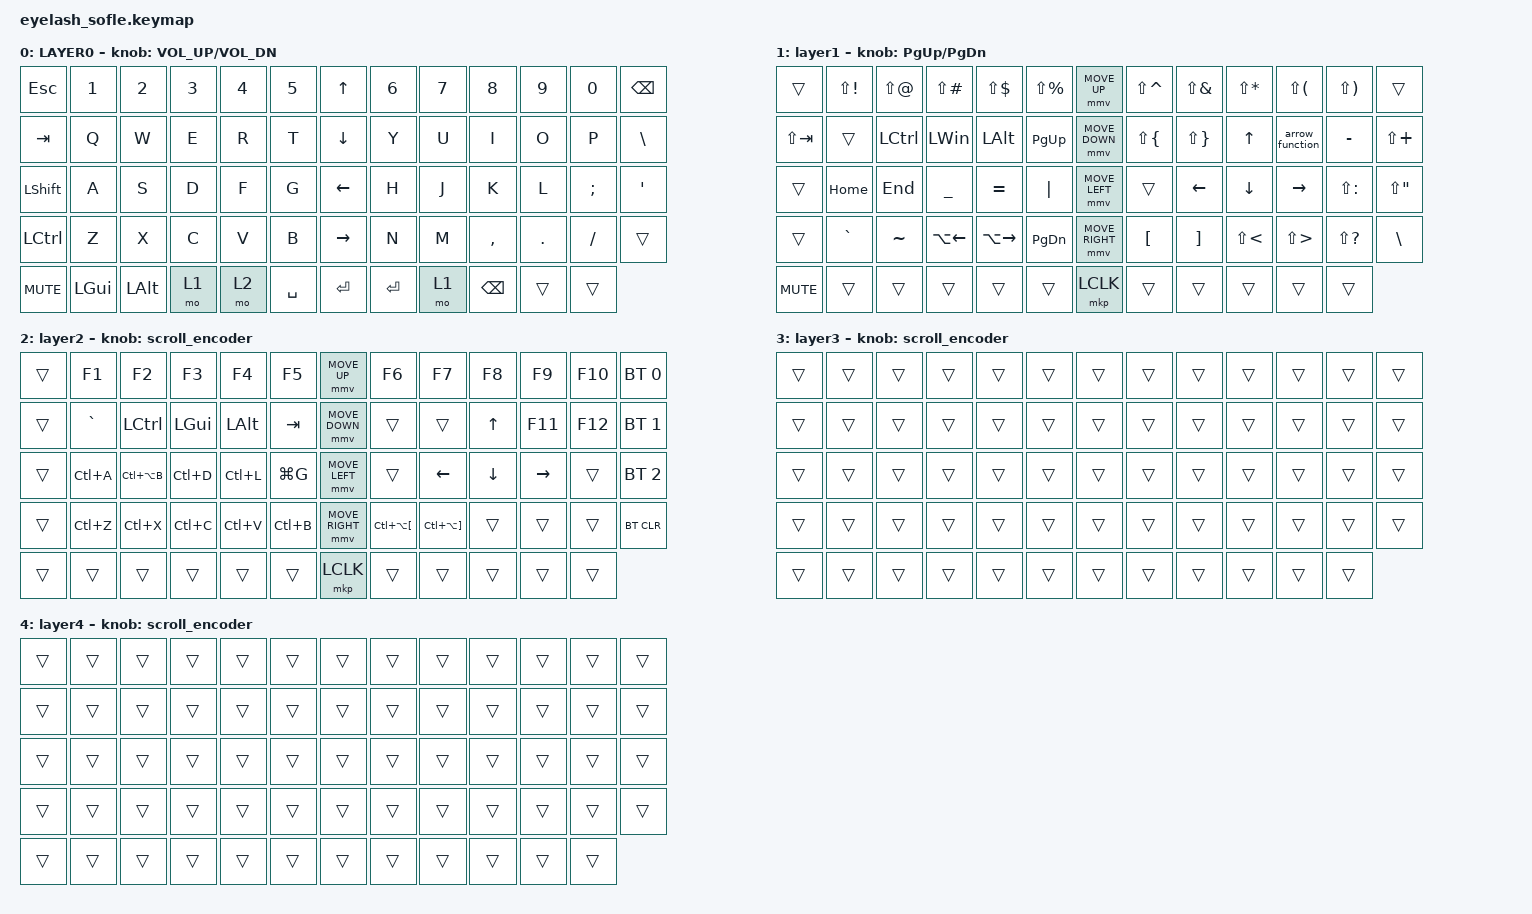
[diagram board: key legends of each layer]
#define ZMK_POINTING_DEFAULT_MOVE_VAL 1200  // 600
#define ZMK_POINTING_DEFAULT_SCRL_VAL 25   // 10

#include <input/processors.dtsi>
#include <zephyr/dt-bindings/input/input-event-codes.h>
#include <behaviors.dtsi>
#include <dt-bindings/zmk/bt.h>
#include <dt-bindings/zmk/keys.h>
#include <dt-bindings/zmk/pointing.h>

&mmv_input_listener { input-processors = <&zip_xy_scaler 2 1>; };

&msc_input_listener { input-processors = <&zip_scroll_scaler 2 1>; };

&msc {
    acceleration-exponent = <1>;      // 0
    time-to-max-speed-ms = <100>;       // 300
    delay-ms = <0>;                   // 0
};

&mmv {
    time-to-max-speed-ms = <500>;
    acceleration-exponent = <1>;
    trigger-period-ms = <16>;
};

&soft_off { hold-time-ms = <2000>; };

/ {
    scroll_encoder: scroll_encoder {
        compatible = "zmk,behavior-sensor-rotate";
        #sensor-binding-cells = <0>;
        bindings = <&msc SCRL_DOWN>, <&msc SCRL_UP>;

        tap-ms = <100>;
    };

    behaviors {
    };

    combos {
        compatible = "zmk,combos";

        softoff {
            bindings = <&soft_off>;
            key-positions = <14 28 40>;
        };
    };

    macros {
        SHIFT_MCLK: SHIFT_MCLK {
            compatible = "zmk,behavior-macro";
            #binding-cells = <0>;
            bindings =
                <&macro_press>,
                <&kp LEFT_SHIFT>,
                <&macro_press>,
                <&mkp MB3>,
                <&macro_pause_for_release>,
                <&macro_release>,
                <&kp LEFT_SHIFT &mkp MB3>;

            label = "SHIFT_MCLK";
        };

        arrow_function: arrow_function {
            compatible = "zmk,behavior-macro";
            #binding-cells = <0>;
            bindings = <&kp EQUAL &kp GREATER_THAN>;
            label = "ARROW_FUNCTION";
        };

        fold_sub_region: fold_sub_region {
            compatible = "zmk,behavior-macro";
            #binding-cells = <0>;
            bindings = <&kp LC(K) &kp LC(O)>;
            label = "FOLD_SUB_REGION";
        };
    };

    keymap {
        compatible = "zmk,keymap";

        layer0 {
            bindings = <
&kp ESC           &kp N1    &kp N2        &kp N3  &kp N4  &kp N5       &kp UP_ARROW     &kp N6     &kp N7  &kp N8     &kp N9   &kp N0    &kp BACKSPACE
&kp TAB           &kp Q     &kp W         &kp E   &kp R   &kp T        &kp DOWN_ARROW   &kp Y      &kp U   &kp I      &kp O    &kp P     &kp BSLH
&kp LSHFT         &kp A     &kp S         &kp D   &kp F   &kp G        &kp LEFT_ARROW   &kp H      &kp J   &kp K      &kp L    &kp SEMI  &kp APOS
&kp LEFT_CONTROL  &kp Z     &kp X         &kp C   &kp V   &kp B        &kp RIGHT_ARROW  &kp N      &kp M   &kp COMMA  &kp DOT  &kp FSLH  &trans
&kp C_MUTE        &kp LGUI  &kp LEFT_ALT  &mo 1   &mo 2   &kp SPACE    &kp ENTER        &kp ENTER  &mo 1   &kp BSPC   &trans   &trans
            >;

            sensor-bindings = <&inc_dec_kp C_VOLUME_UP C_VOL_DN>;
            display-name = "LAYER0";
        };

        layer_1 {
            bindings = <
&trans       &kp LS(EXCL)  &kp LS(AT)        &kp LS(POUND)  &kp LS(DLLR)   &kp LS(PRCNT)    &mmv MOVE_UP     &kp LS(CARET)  &kp LS(AMPS)  &kp LS(STAR)  &kp LS(LPAR)     &kp LS(RPAR)   &trans
&kp LS(TAB)  &trans        &kp LEFT_CONTROL  &kp LEFT_WIN   &kp LEFT_ALT   &kp PG_UP        &mmv MOVE_DOWN   &kp LS(LBRC)   &kp LS(RBRC)  &kp UP        &arrow_function  &kp MINUS      &kp LS(PLUS)
&trans       &kp HOME      &kp END           &kp UNDER      &kp EQUAL      &kp PIPE         &mmv MOVE_LEFT   &trans         &kp LEFT      &kp DOWN      &kp RIGHT        &kp LS(COLON)  &kp LS(DQT)
&trans       &kp GRAVE     &kp TILDE         &kp LA(LEFT)   &kp LA(RIGHT)  &kp PAGE_DOWN    &mmv MOVE_RIGHT  &kp LBKT       &kp RBKT      &kp LS(LT)    &kp LS(GT)       &kp LS(QMARK)  &kp BSLH
&kp C_MUTE   &trans        &trans            &trans         &trans         &trans           &mkp LCLK        &trans         &trans        &trans        &trans           &trans
            >;

            display-name = "layer1";
            sensor-bindings = <&inc_dec_kp PAGE_UP PAGE_DOWN>;
        };

        layer_2 {
            bindings = <
&trans  &kp F1     &kp F2         &kp F3     &kp F4     &kp F5       &mmv MOVE_UP     &kp F6                    &kp F7                     &kp F8    &kp F9     &kp F10  &bt BT_SEL 0
&trans  &kp GRAVE  &kp LCTRL      &kp LGUI   &kp LALT   &kp TAB      &mmv MOVE_DOWN   &trans                    &trans                     &kp UP    &kp F11    &kp F12  &bt BT_SEL 1
&trans  &kp LC(A)  &kp LC(LA(B))  &kp LC(D)  &kp LC(L)  &kp LG(G)    &mmv MOVE_LEFT   &trans                    &kp LEFT                   &kp DOWN  &kp RIGHT  &trans   &bt BT_SEL 2
&trans  &kp LC(Z)  &kp LC(X)      &kp LC(C)  &kp LC(V)  &kp LC(B)    &mmv MOVE_RIGHT  &kp LC(LA(LEFT_BRACKET))  &kp LC(LA(RIGHT_BRACKET))  &trans    &trans     &trans   &bt BT_CLR
&trans  &trans     &trans         &trans     &trans     &trans       &mkp LCLK        &trans                    &trans                     &trans    &trans     &trans
            >;

            display-name = "layer2";
            sensor-bindings = <&scroll_encoder>;
        };

        layer_3 {
            bindings = <
&trans  &trans  &trans  &trans  &trans  &trans    &trans  &trans  &trans  &trans  &trans  &trans  &trans
&trans  &trans  &trans  &trans  &trans  &trans    &trans  &trans  &trans  &trans  &trans  &trans  &trans
&trans  &trans  &trans  &trans  &trans  &trans    &trans  &trans  &trans  &trans  &trans  &trans  &trans
&trans  &trans  &trans  &trans  &trans  &trans    &trans  &trans  &trans  &trans  &trans  &trans  &trans
&trans  &trans  &trans  &trans  &trans  &trans    &trans  &trans  &trans  &trans  &trans  &trans
            >;

            display-name = "layer3";
            sensor-bindings = <&scroll_encoder>;
        };

        layer_4 {
            bindings = <
&trans  &trans  &trans  &trans  &trans  &trans    &trans  &trans  &trans  &trans  &trans  &trans  &trans
&trans  &trans  &trans  &trans  &trans  &trans    &trans  &trans  &trans  &trans  &trans  &trans  &trans
&trans  &trans  &trans  &trans  &trans  &trans    &trans  &trans  &trans  &trans  &trans  &trans  &trans
&trans  &trans  &trans  &trans  &trans  &trans    &trans  &trans  &trans  &trans  &trans  &trans  &trans
&trans  &trans  &trans  &trans  &trans  &trans    &trans  &trans  &trans  &trans  &trans  &trans
            >;

            display-name = "layer4";
            sensor-bindings = <&scroll_encoder>;
        };
    };
};
